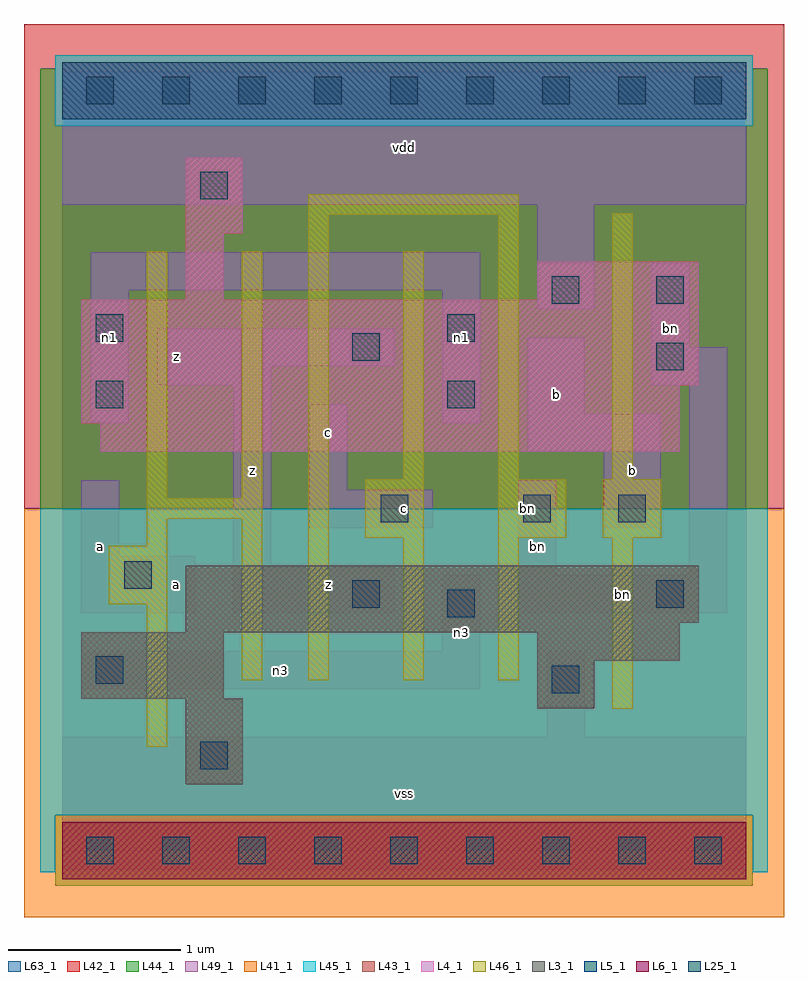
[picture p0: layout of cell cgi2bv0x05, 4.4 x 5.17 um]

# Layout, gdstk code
import gdstk
lib = gdstk.Library(unit=1e-6, precision=1e-09)
def R(c, l, rs):  # rectangles x0, y0, x1, y1
    for r in rs: c.add(gdstk.rectangle(r[:2], r[2:], *l))
def A(c, l, x, y, w, h, nx, ny, dx, dy):  # array of equal rectangles
    R(c, l, [(x+i*dx, y+j*dy, x+i*dx+w, y+j*dy+h) for i in range(nx) for j in range(ny)])
L3_1 = (3, 1)
L4_1 = (4, 1)
L5_1 = (5, 1)
L6_1 = (6, 1)
L25_1 = (25, 1)
L41_1 = (41, 1)
L42_1 = (42, 1)
L43_1 = (43, 1)
L44_1 = (44, 1)
L45_1 = (45, 1)
L46_1 = (46, 1)
L49_1 = (49, 1)
L63_1 = (63, 1)

cgi2bv0x05 = lib.new_cell('cgi2bv0x05')
R(cgi2bv0x05, L3_1, [(0.715,0.385,1.045,0.88), (2.75,0.825,3.08,1.1), (0.11,0.88,0.935,1.265), (2.75,1.1,3.575,1.265), (0.715,1.265,3.575,1.32), (0.715,1.32,3.685,1.65)])
R(cgi2bv0x05, L4_1, [(0.22,2.31,3.575,2.475), (0.11,2.475,3.575,2.695), (0.11,2.695,3.685,3.19), (0.715,3.19,0.935,3.575), (2.75,3.19,3.685,3.41), (0.715,3.575,1.045,4.015)])
R(cgi2bv0x05, L5_1, [(0,4.235,3.96,4.565)])
R(cgi2bv0x05, L6_1, [(0,-0.165,3.96,0.165)])
A(cgi2bv0x05, L25_1, 0.14, -0.08, 0.16, 0.16, 9, 2, 0.44, 4.4)
R(cgi2bv0x05, L25_1, [(0.8,0.47,0.96,0.63), (2.835,0.91,2.995,1.07), (0.195,0.965,0.355,1.125), (2.23,1.35,2.39,1.51), (1.68,1.405,1.84,1.565), (3.44,1.405,3.6,1.565), (0.36,1.515,0.52,1.675), (1.845,1.9,2.005,2.06), (2.67,1.9,2.83,2.06), (3.22,1.9,3.38,2.06), (0.195,2.56,0.355,2.72), (2.23,2.56,2.39,2.72), (3.44,2.78,3.6,2.94), (1.68,2.835,1.84,2.995), (0.195,2.945,0.355,3.105), (2.23,2.945,2.39,3.105), (2.835,3.165,2.995,3.325), (3.44,3.165,3.6,3.325), (0.8,3.77,0.96,3.93)])
R(cgi2bv0x05, L41_1, [(-0.22,-0.385,4.18,1.98)])
R(cgi2bv0x05, L42_1, [(-0.22,1.98,4.18,4.785)])
R(cgi2bv0x05, L43_1, [(0,-0.165,3.96,0.165), (0.715,0.385,1.045,0.88), (2.75,0.825,3.08,1.1), (0.11,0.88,0.935,1.265), (2.75,1.1,3.575,1.265), (0.715,1.265,3.575,1.32), (0.715,1.32,3.685,1.65), (0.22,2.31,3.575,2.475), (0.11,2.475,3.575,2.695), (0.11,2.695,3.685,3.19), (0.715,3.19,0.935,3.575), (2.75,3.19,3.685,3.41), (0.715,3.575,1.045,4.015), (0,4.235,3.96,4.565)])
R(cgi2bv0x05, L44_1, [(-0.04,-0.205,4,0.205), (-0.125,1.98,4.085,4.195), (-0.125,4.195,-0.04,4.525), (4,4.195,4.085,4.525)])
R(cgi2bv0x05, L45_1, [(-0.125,-0.125,-0.04,0.205), (4,-0.125,4.085,0.205), (-0.125,0.205,4.085,1.98), (-0.04,4.195,4,4.605)])
R(cgi2bv0x05, L46_1, [(0.49,0.6,0.61,1.425), (3.185,0.82,3.305,1.81), (1.04,0.985,1.16,1.92), (1.425,0.985,1.545,3.68), (1.975,0.985,2.095,1.81), (2.525,0.985,2.645,1.81), (0.27,1.425,0.61,1.765), (0.49,1.765,0.61,1.92), (1.755,1.81,2.095,2.15), (2.525,1.81,2.92,2.15), (3.13,1.81,3.47,2.15), (0.49,1.92,1.16,2.04), (0.49,2.04,0.61,3.47), (1.04,2.04,1.16,3.47), (1.975,2.15,2.095,3.47), (2.525,2.15,2.645,3.68), (3.185,2.15,3.305,3.69), (1.425,3.68,2.645,3.8)])
R(cgi2bv0x05, L49_1, [(0,-0.11,3.96,0.66), (2.805,0.66,3.025,1.155), (0.11,0.935,2.42,1.155), (2.2,1.155,2.42,1.595), (0.11,1.375,0.77,1.705), (0.99,1.375,1.925,1.65), (2.64,1.375,3.85,1.595), (2.64,1.595,2.86,2.145), (3.63,1.595,3.85,2.695), (0.99,1.65,1.21,2.695), (0.11,1.705,0.33,2.145), (1.43,1.87,2.145,2.09), (3.135,1.87,3.465,2.31), (1.43,2.09,1.65,2.585), (2.695,2.31,3.465,2.53), (0.165,2.475,0.385,3.245), (2.2,2.475,2.42,3.245), (2.695,2.53,3.025,2.97), (0.55,2.695,1.21,2.805), (3.41,2.695,3.85,2.915), (0.55,2.805,1.925,3.025), (3.41,2.915,3.63,3.41), (2.75,3.135,3.08,3.74), (0.165,3.245,2.42,3.465), (0,3.74,3.96,4.51)])
R(cgi2bv0x05, L63_1, [(0,0,3.96,4.4)])
cgi2bv0x05.add(gdstk.Label('bn', (2.695,1.98), layer=49, texttype=1))
cgi2bv0x05.add(gdstk.Label('a', (0.22,1.76), layer=49, texttype=1))
cgi2bv0x05.add(gdstk.Label('n1', (0.275,2.97), layer=49, texttype=1))
cgi2bv0x05.add(gdstk.Label('a', (0.66,1.54), layer=49, texttype=1))
cgi2bv0x05.add(gdstk.Label('z', (1.1,2.2), layer=49, texttype=1))
cgi2bv0x05.add(gdstk.Label('z', (0.66,2.86), layer=49, texttype=1))
cgi2bv0x05.add(gdstk.Label('vss', (1.98,0.33), layer=49, texttype=1))
cgi2bv0x05.add(gdstk.Label('z', (1.54,1.54), layer=49, texttype=1))
cgi2bv0x05.add(gdstk.Label('c', (1.54,2.42), layer=49, texttype=1))
cgi2bv0x05.add(gdstk.Label('c', (1.98,1.98), layer=49, texttype=1))
cgi2bv0x05.add(gdstk.Label('vdd', (1.98,4.07), layer=49, texttype=1))
cgi2bv0x05.add(gdstk.Label('n3', (2.31,1.265), layer=49, texttype=1))
cgi2bv0x05.add(gdstk.Label('n3', (1.265,1.045), layer=49, texttype=1))
cgi2bv0x05.add(gdstk.Label('bn', (2.75,1.76), layer=49, texttype=1))
cgi2bv0x05.add(gdstk.Label('b', (2.86,2.64), layer=49, texttype=1))
cgi2bv0x05.add(gdstk.Label('n1', (2.31,2.97), layer=49, texttype=1))
cgi2bv0x05.add(gdstk.Label('bn', (3.245,1.485), layer=49, texttype=1))
cgi2bv0x05.add(gdstk.Label('b', (3.3,2.2), layer=49, texttype=1))
cgi2bv0x05.add(gdstk.Label('bn', (3.52,3.025), layer=49, texttype=1))

lib.write_gds('cgi2bv0x05.gds')
